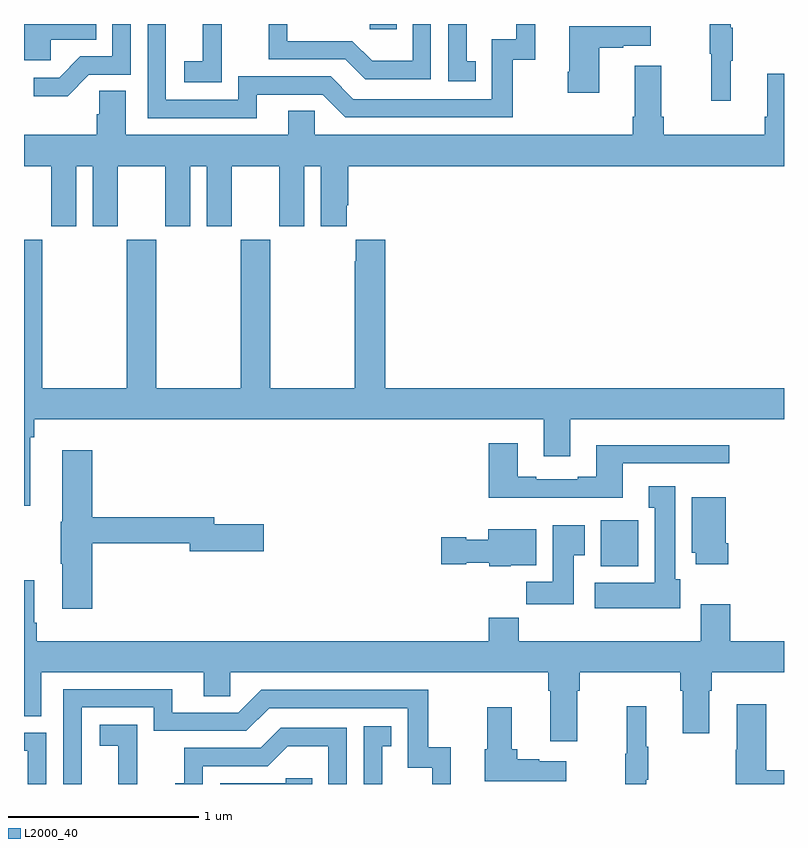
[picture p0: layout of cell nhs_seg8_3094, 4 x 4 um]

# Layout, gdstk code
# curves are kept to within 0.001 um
import gdstk
lib = gdstk.Library(unit=1e-6, precision=1e-09)
def R(c, l, rs):  # rectangles x0, y0, x1, y1
    for r in rs: c.add(gdstk.rectangle(r[:2], r[2:], *l))
def P(c, l, *ps):  # polygons
    for p in ps: c.add(gdstk.Polygon(p, *l))
L2000_40 = (2000, 40)

nhs_seg8_3094 = lib.new_cell('nhs_seg8_3094')
R(nhs_seg8_3094, L2000_40, [(306.035,1129.046,306.232,1129.288), (304.821,1131.873,304.961,1131.9)])
P(nhs_seg8_3094, L2000_40, [(304.225,1131.528),(304.572,1131.528),(304.692,1131.408),(305.572,1131.408),(305.572,1131.711),(305.69,1131.711),(305.69,1131.9),(305.592,1131.9),(305.592,1131.819),(305.463,1131.819),(305.463,1131.504),(304.734,1131.504),(304.614,1131.624),(304.128,1131.624),(304.128,1131.501),(303.747,1131.501),(303.747,1131.9),(303.651,1131.9),(303.651,1131.405),(304.225,1131.405)],
  [(305.378,1131.705),(305.329,1131.705),(305.329,1131.9),(305.232,1131.9),(305.232,1131.6),(305.378,1131.6)],
  [(306.719,1131.707),(306.73,1131.707),(306.73,1131.881),(306.719,1131.881),(306.719,1131.9),(306.609,1131.9),(306.609,1131.744),(306.616,1131.744),(306.616,1131.495),(306.719,1131.495)],
  [(305.142,1131.9),(305.046,1131.9),(305.046,1131.706),(304.832,1131.706),(304.728,1131.81),(304.386,1131.81),(304.386,1131.9),(304.239,1131.899),(304.288,1131.899),(304.288,1131.714),(304.691,1131.714),(304.796,1131.609),(305.142,1131.609)],
  [(303.141,1131.818),(303.38,1131.818),(303.38,1131.9),(303,1131.9),(303,1131.71),(303.141,1131.71)],
  [(303.342,1131.633),(303.561,1131.633),(303.561,1131.9),(303.465,1131.9),(303.465,1131.729),(303.296,1131.729),(303.185,1131.618),(303.051,1131.618),(303.051,1131.521),(303.229,1131.521)],
  [(304.041,1131.799),(304.04,1131.799),(304.04,1131.9),(303.941,1131.9),(303.941,1131.703),(303.843,1131.703),(303.843,1131.593),(304.041,1131.593)],
  [(306.028,1131.775),(306.155,1131.775),(306.155,1131.785),(306.298,1131.785),(306.298,1131.889),(305.87,1131.889),(305.87,1131.649),(305.863,1131.649),(305.863,1131.537),(306.028,1131.537)],
  [(303.274,1131.152),(303.362,1131.152),(303.362,1130.835),(303.493,1130.835),(303.493,1131.152),(303.743,1131.152),(303.743,1130.835),(303.874,1130.835),(303.874,1131.152),(303.962,1131.152),(303.962,1130.835),(304.093,1130.835),(304.093,1131.152),(304.343,1131.152),(304.343,1130.835),(304.474,1130.835),(304.474,1131.152),(304.562,1131.152),(304.562,1130.835),(304.699,1130.835),(304.699,1130.947),(304.706,1130.947),(304.706,1131.152),(307,1131.152),(307,1131.637),(306.911,1131.637),(306.911,1131.412),(306.899,1131.412),(306.899,1131.316),(306.368,1131.316),(306.368,1131.412),(306.355,1131.412),(306.355,1131.679),(306.215,1131.679),(306.215,1131.412),(306.203,1131.412),(306.203,1131.316),(304.53,1131.316),(304.53,1131.443),(304.391,1131.443),(304.391,1131.316),(303.535,1131.316),(303.535,1131.548),(303.396,1131.548),(303.396,1131.425),(303.383,1131.425),(303.383,1131.316),(303,1131.316),(303,1131.152),(303.143,1131.152),(303.143,1130.835),(303.274,1130.835)],
  [(303.034,1129.724),(303.053,1129.724),(303.053,1129.82),(305.735,1129.82),(305.735,1129.626),(305.875,1129.626),(305.875,1129.82),(307,1129.82),(307,1129.984),(304.901,1129.984),(304.901,1130.764),(304.745,1130.764),(304.745,1130.651),(304.741,1130.651),(304.741,1129.984),(304.296,1129.984),(304.296,1130.764),(304.141,1130.764),(304.141,1129.984),(303.696,1129.984),(303.696,1130.764),(303.541,1130.764),(303.541,1129.984),(303.096,1129.984),(303.096,1130.764),(303,1130.764),(303,1129.365),(303.034,1129.365)],
  [(306.151,1129.587),(306.712,1129.587),(306.712,1129.684),(306.011,1129.684),(306.011,1129.516),(305.915,1129.516),(305.915,1129.503),(305.695,1129.503),(305.695,1129.516),(305.599,1129.516),(305.599,1129.693),(305.447,1129.693),(305.447,1129.406),(306.151,1129.406)],
  [(303.359,1129.168),(303.872,1129.168),(303.872,1129.126),(304.261,1129.126),(304.261,1129.268),(304,1129.268),(304,1129.304),(303.359,1129.304),(303.359,1129.657),(303.2,1129.657),(303.2,1129.281),(303.193,1129.281),(303.193,1129.06),(303.2,1129.06),(303.2,1128.822),(303.359,1128.822)],
  [(306.454,1128.978),(306.427,1128.978),(306.427,1129.468),(306.287,1129.468),(306.287,1129.355),(306.32,1129.355),(306.32,1128.958),(306.003,1128.958),(306.003,1128.824),(306.454,1128.824)],
  [(306.707,1129.168),(306.694,1129.168),(306.694,1129.408),(306.515,1129.408),(306.515,1129.116),(306.536,1129.116),(306.536,1129.056),(306.707,1129.056)],
  [(305.893,1129.105),(305.95,1129.105),(305.95,1129.261),(305.783,1129.261),(305.783,1128.964),(305.644,1128.964),(305.644,1128.846),(305.893,1128.846)],
  [(305.562,1129.052),(305.695,1129.052),(305.695,1129.24),(305.444,1129.24),(305.444,1129.186),(305.328,1129.186),(305.328,1129.199),(305.196,1129.199),(305.196,1129.057),(305.328,1129.057),(305.328,1129.064),(305.448,1129.064),(305.448,1129.046),(305.562,1129.046)],
  [(305.911,1128.392),(305.924,1128.392),(305.924,1128.488),(306.455,1128.488),(306.455,1128.392),(306.467,1128.392),(306.467,1128.168),(306.607,1128.168),(306.607,1128.392),(306.62,1128.392),(306.62,1128.488),(307,1128.488),(307,1128.652),(306.716,1128.652),(306.716,1128.847),(306.563,1128.847),(306.563,1128.652),(305.603,1128.652),(305.603,1128.776),(305.447,1128.776),(305.447,1128.652),(303.068,1128.652),(303.068,1128.748),(303.055,1128.748),(303.055,1128.973),(303,1128.973),(303,1128.256),(303.091,1128.256),(303.091,1128.488),(303.947,1128.488),(303.947,1128.361),(304.086,1128.361),(304.086,1128.488),(305.759,1128.488),(305.759,1128.392),(305.771,1128.392),(305.771,1128.126),(305.911,1128.126)],
  [(303.303,1128.303),(303.684,1128.303),(303.684,1128.18),(304.17,1128.18),(304.29,1128.3),(305.019,1128.3),(305.019,1127.985),(305.148,1127.985),(305.148,1127.9),(305.246,1127.9),(305.246,1128.094),(305.128,1128.094),(305.128,1128.396),(304.248,1128.396),(304.128,1128.276),(303.781,1128.276),(303.781,1128.399),(303.207,1128.399),(303.207,1127.9),(303.303,1127.9)],
  [(307,1127.972),(306.906,1127.972),(306.906,1128.319),(306.752,1128.319),(306.752,1128.08),(306.745,1128.08),(306.745,1127.9),(307,1127.9)],
  [(306.275,1127.923),(306.286,1127.923),(306.286,1128.097),(306.275,1128.097),(306.275,1128.31),(306.172,1128.31),(306.172,1128.06),(306.165,1128.06),(306.165,1127.9),(306.275,1127.9)],
  [(305.854,1128.019),(305.711,1128.019),(305.711,1128.029),(305.597,1128.029),(305.597,1128.084),(305.566,1128.084),(305.566,1128.304),(305.437,1128.304),(305.437,1128.084),(305.426,1128.084),(305.426,1127.915),(305.854,1127.915)],
  [(303.596,1128.005),(303.597,1128.005),(303.597,1128.211),(303.399,1128.211),(303.399,1128.101),(303.497,1128.101),(303.497,1127.9),(303.596,1127.9)],
  [(304.885,1128.099),(304.934,1128.099),(304.934,1128.205),(304.788,1128.205),(304.788,1127.9),(304.885,1127.9)],
  [(303.942,1127.994),(304.284,1127.994),(304.388,1128.098),(304.602,1128.098),(304.602,1127.9),(304.698,1127.9),(304.698,1128.195),(304.352,1128.195),(304.247,1128.09),(303.844,1128.09),(303.844,1127.905),(303.795,1127.905),(303.795,1127.9),(303.942,1127.9)],
  [(303.117,1128.171),(303,1128.171),(303,1128.075),(303.021,1128.075),(303.021,1127.9),(303.117,1127.9)],
  [(304.517,1127.931),(304.377,1127.931),(304.377,1127.904),(304.032,1127.904),(304.032,1127.9),(304.517,1127.9)])

lib.write_gds('nhs_seg8_3094.gds')
